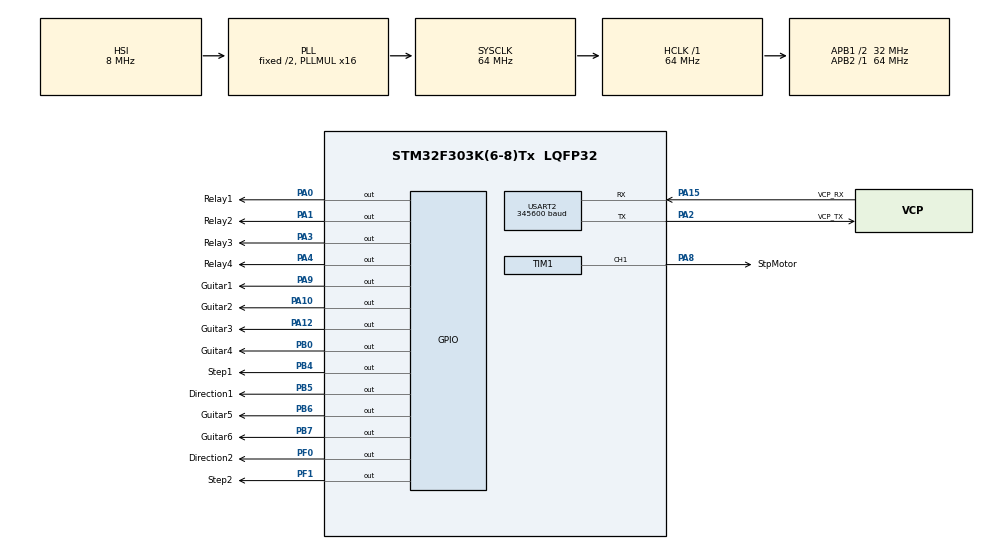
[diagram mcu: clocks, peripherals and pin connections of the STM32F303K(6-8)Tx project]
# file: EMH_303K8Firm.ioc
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Mcu.Family=STM32F3
Mcu.Name=STM32F303K(6-8)Tx
Mcu.Package=LQFP32
NVIC.PriorityGroup=NVIC_PRIORITYGROUP_4
NVIC.TIM1_BRK_TIM15_IRQn=true\:15\:0\:true\:false\:true\:true\:true\:true
NVIC.TIM1_TRG_COM_TIM17_IRQn=true\:15\:0\:true\:false\:true\:true\:true\:true
NVIC.TIM1_UP_TIM16_IRQn=true\:15\:0\:true\:false\:true\:true\:true\:true
NVIC.TIM2_IRQn=true\:0\:0\:false\:false\:true\:true\:true\:true
NVIC.TIM3_IRQn=true\:0\:0\:false\:false\:true\:true\:true\:true
NVIC.TIM6_DAC1_IRQn=true\:15\:0\:true\:false\:true\:true\:true\:true
NVIC.TIM7_DAC2_IRQn=true\:15\:0\:true\:false\:true\:true\:true\:true
NVIC.USART2_IRQn=true\:0\:0\:false\:false\:true\:true\:true\:true
PA0.GPIO_Label=Relay1
PA0.Signal=GPIO_Output
PA1.GPIO_Label=Relay2
PA1.Signal=GPIO_Output
PA10.GPIO_Label=Guitar2
PA10.Signal=GPIO_Output
PA12.GPIO_Label=Guitar3
PA12.Signal=GPIO_Output
PA13.GPIO_Label=SWDIO
PA13.Mode=Serial_Wire
PA13.Signal=SYS_JTMS-SWDIO
PA14.GPIO_Label=SWCLK
PA14.Mode=Serial_Wire
PA14.Signal=SYS_JTCK-SWCLK
PA15.GPIO_Label=VCP_RX
PA15.Mode=Asynchronous
PA15.Signal=USART2_RX
PA2.GPIO_Label=VCP_TX
PA2.Mode=Asynchronous
PA2.Signal=USART2_TX
PA3.GPIO_Label=Relay3
PA3.Signal=GPIO_Output
PA4.GPIO_Label=Relay4
PA4.Signal=GPIO_Output
PA8.GPIO_Label=StpMotor
PA8.Signal=S_TIM1_CH1
PA9.GPIO_Label=Guitar1
PA9.Signal=GPIO_Output
PB0.GPIO_Label=Guitar4
PB0.Signal=GPIO_Output
PB4.GPIO_Label=Step1
PB4.Signal=GPIO_Output
PB5.GPIO_Label=Direction1
PB5.Signal=GPIO_Output
PB6.GPIO_Label=Guitar5
PB6.Signal=GPIO_Output
PB7.GPIO_Label=Guitar6
PB7.Signal=GPIO_Output
PF0\ /\ OSC_IN.GPIO_Label=Direction2
PF0\ /\ OSC_IN.Signal=GPIO_Output
PF1\ /\ OSC_OUT.GPIO_Label=Step2
PF1\ /\ OSC_OUT.Signal=GPIO_Output
ProjectManager.HeapSize=0x200
ProjectManager.StackSize=0x400
ProjectManager.TargetToolchain=STM32CubeIDE
RCC.AHBFreq_Value=64000000
RCC.APB1CLKDivider=RCC_HCLK_DIV2
RCC.APB1Freq_Value=32000000
RCC.APB1TimFreq_Value=64000000
RCC.APB2Freq_Value=64000000
RCC.APB2TimFreq_Value=64000000
RCC.CortexFreq_Value=64000000
RCC.HCLKFreq_Value=64000000
RCC.HSE_VALUE=8000000
RCC.HSI_VALUE=8000000
RCC.PLLMUL=RCC_PLL_MUL16
RCC.SYSCLKFreq_VALUE=64000000
RCC.SYSCLKSourceVirtual=RCC_SYSCLKSOURCE_PLLCLK
SH.S_TIM1_CH1.0=TIM1_CH1,PWM Generation1 CH1
TIM1.Channel-PWM\ Generation1\ CH1=TIM_CHANNEL_1
TIM1.Period=99
TIM1.Prescaler=799
TIM15.AutoReloadPreload=TIM_AUTORELOAD_PRELOAD_ENABLE
TIM15.Period=99
TIM15.Prescaler=799
TIM16.AutoReloadPreload=TIM_AUTORELOAD_PRELOAD_ENABLE
TIM16.Period=99
TIM16.Prescaler=799
TIM17.AutoReloadPreload=TIM_AUTORELOAD_PRELOAD_ENABLE
TIM17.Period=99
TIM17.Prescaler=799
TIM2.AutoReloadPreload=TIM_AUTORELOAD_PRELOAD_ENABLE
TIM2.Period=99
TIM2.Prescaler=799
TIM3.AutoReloadPreload=TIM_AUTORELOAD_PRELOAD_ENABLE
TIM3.Period=99
TIM3.Prescaler=799
TIM6.AutoReloadPreload=TIM_AUTORELOAD_PRELOAD_ENABLE
TIM6.Period=99
TIM6.Prescaler=799
TIM7.AutoReloadPreload=TIM_AUTORELOAD_PRELOAD_ENABLE
TIM7.Period=99
TIM7.Prescaler=799
USART2.BaudRate=345600
USART2.VirtualMode-Asynchronous=VM_ASYNC
VP_TIM15_VS_ClockSourceINT.Mode=Internal
VP_TIM16_VS_ClockSourceINT.Mode=Enable_Timer
VP_TIM17_VS_ClockSourceINT.Mode=Enable_Timer
VP_TIM1_VS_ClockSourceINT.Mode=Internal
VP_TIM2_VS_ClockSourceINT.Mode=Internal
VP_TIM3_VS_ClockSourceINT.Mode=Internal
VP_TIM6_VS_ClockSourceINT.Mode=Enable_Timer
VP_TIM7_VS_ClockSourceINT.Mode=Enable_Timer
board=NUCLEO-F303K8

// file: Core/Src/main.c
/* USER CODE BEGIN Header */
/**
  ******************************************************************************
  * @file           : main.c
  * @brief          : Main program body
  ******************************************************************************
  * @attention
  *
  * Copyright (c) 2023 STMicroelectronics.
  * All rights reserved.
  *
  * This software is licensed under terms that can be found in the LICENSE file
  * in the root directory of this software component.
  * If no LICENSE file comes with this software, it is provided AS-IS.
  *
  ******************************************************************************
  */
/* USER CODE END Header */
#include "main.h"

/* USER CODE BEGIN Includes */
#include <math.h>
#include <stdlib.h>
/* USER CODE END Includes */

/* USER CODE BEGIN PD */
#define TimerNum 8
#define FloppyNum 2
#define RelayNum 4
#define GuitarNum 6
/* USER CODE END PD */

TIM_HandleTypeDef htim1;
TIM_HandleTypeDef htim2;
TIM_HandleTypeDef htim3;
TIM_HandleTypeDef htim6;
TIM_HandleTypeDef htim7;
TIM_HandleTypeDef htim15;
TIM_HandleTypeDef htim16;
TIM_HandleTypeDef htim17;

UART_HandleTypeDef huart2;

/* USER CODE BEGIN PV */
GPIO_PinState currentState[FloppyNum] ={ GPIO_PIN_RESET};
uint8_t currentPosition[FloppyNum] = {0};

char data[256];
uint8_t uartCnt = 0;
uint16_t notes[12] = {0};
uint16_t freqs[12] = {0};
uint16_t noteParFreq[127] = {0};
double tmp[12] = {0};

const double timer_clock = 64e6;
const uint8_t timerPeriod = 100;

uint8_t arrayLen = 0;
GPIO_TypeDef* relayPort[RelayNum] = {};
uint32_t relayPin[RelayNum] = {};
GPIO_TypeDef* floppyPort[FloppyNum * 2] = {};
uint32_t floppyPin[FloppyNum * 2] = {};
GPIO_TypeDef* guitarPort[GuitarNum] = {};
uint32_t guitarPin[GuitarNum] = {};
TIM_HandleTypeDef times[TimerNum] = {};
/* USER CODE END PV */

void SystemClock_Config(void);
static void MX_GPIO_Init(void);
static void MX_USART2_UART_Init(void);
static void MX_TIM1_Init(void);
static void MX_TIM6_Init(void);
static void MX_TIM7_Init(void);
static void MX_TIM17_Init(void);
static void MX_TIM2_Init(void);
static void MX_TIM3_Init(void);
static void MX_TIM15_Init(void);
static void MX_TIM16_Init(void);

/* USER CODE BEGIN 0 */
//reset position of floppy
void resetStep(){
	for(uint8_t i = 0; i < FloppyNum * 2; i+=2){
		//i : Direction, i+1 : Step
		HAL_GPIO_WritePin(floppyPort[i], floppyPin[i], GPIO_PIN_SET);
		for(uint8_t j = 0; j < 79; j++){
			HAL_GPIO_WritePin(floppyPort[i+1], floppyPin[i+1], GPIO_PIN_SET);
			HAL_GPIO_WritePin(floppyPort[i+1], floppyPin[i+1], GPIO_PIN_RESET);
			HAL_Delay(10);
		}
		currentPosition[i / 2] = 0;
		currentState[i / 2] = GPIO_PIN_RESET;
		HAL_GPIO_WritePin(floppyPort[i], floppyPin[i], GPIO_PIN_RESET);
	}
}

//Timer interrupt (floppy control only)
void HAL_TIM_PeriodElapsedCallback(TIM_HandleTypeDef *htim)
{
	uint8_t timerIdx = 0;
	for(; timerIdx < TimerNum; timerIdx++){
		if(htim->Instance == times[timerIdx].Instance)
			break;
	}
	//timer0 -> StpMotor(Melody)
	//timer1-6 -> GuitaNoid(Guitar)
	//timer7 -> FloppyDrive(Base)
	if(timerIdx == 7){
		//Update position
		for(uint8_t floppyIdx = timerIdx - 7; floppyIdx < FloppyNum; floppyIdx++){
			currentPosition[floppyIdx] = (currentState[floppyIdx] == GPIO_PIN_SET) ? currentPosition[floppyIdx] - 1 : currentPosition[floppyIdx] + 1;
			if(currentPosition[floppyIdx] <= 0){
				currentState[floppyIdx] = GPIO_PIN_RESET;
				HAL_GPIO_WritePin(floppyPort[floppyIdx * 2], floppyPin[floppyIdx * 2], currentState[floppyIdx]);
			}else if(currentPosition[floppyIdx] >= 158){
				currentState[floppyIdx] = GPIO_PIN_SET;
				HAL_GPIO_WritePin(floppyPort[floppyIdx * 2], floppyPin[floppyIdx * 2], currentState[floppyIdx]);
			}
			HAL_GPIO_TogglePin(floppyPort[floppyIdx * 2 + 1], floppyPin[floppyIdx * 2 + 1]);
		}
	}else if(timerIdx > 0){
		uint8_t guitarIdx = timerIdx - 1;
		HAL_GPIO_TogglePin(guitarPort[guitarIdx], guitarPin[guitarIdx]);
	}
}

//Set frequency of Timer
void setTimer(uint8_t part, TIM_HandleTypeDef htim, uint32_t prescaler, uint32_t pwm){

  if(pwm > 99) pwm = 99;
  if(prescaler < 0) prescaler = 799;

  htim.Instance = htim.Instance;
  htim.Init.Prescaler = prescaler;
  htim.Init.CounterMode = TIM_COUNTERMODE_UP;
  htim.Init.Period = timerPeriod - 1;	//because of start with 0
  htim.Init.ClockDivision = TIM_CLOCKDIVISION_DIV1;
  htim.Init.AutoReloadPreload = TIM_AUTORELOAD_PRELOAD_ENABLE;
  HAL_TIM_Base_Init(&htim);

	if(part < 1){
	  TIM_OC_InitTypeDef sConfigOC = {0};	//pwm setting only

	  sConfigOC.OCMode = TIM_OCMODE_PWM1;
	  sConfigOC.Pulse = pwm;
	  sConfigOC.OCPolarity = TIM_OCPOLARITY_HIGH;
	  sConfigOC.OCFastMode = TIM_OCFAST_DISABLE;
	  sConfigOC.OCIdleState = TIM_OCIDLESTATE_RESET;
	  sConfigOC.OCNIdleState = TIM_OCNIDLESTATE_RESET;
	  HAL_TIM_PWM_ConfigChannel(&htim, &sConfigOC, TIM_CHANNEL_1);

	  //start
	  HAL_TIM_PWM_Start(&htim, TIM_CHANNEL_1);

	  /*sConfigOC.OCMode = TIM_OCMODE_TOGGLE;
	  sConfigOC.Pulse = 0;
	  sConfigOC.OCPolarity = TIM_OCPOLARITY_HIGH;
	  sConfigOC.OCNPolarity = TIM_OCNPOLARITY_HIGH;
	  sConfigOC.OCFastMode = TIM_OCFAST_DISABLE;
	  sConfigOC.OCIdleState = TIM_OCIDLESTATE_RESET;
	  sConfigOC.OCNIdleState = TIM_OCNIDLESTATE_RESET;

	  HAL_TIM_OC_ConfigChannel(&htim, &sConfigOC, TIM_CHANNEL_2);
	  HAL_TIM_OC_Start(&htim, TIM_CHANNEL_2);
	  HAL_TIMEx_OCN_Start(&htim, TIM_CHANNEL_2);

	  sConfigOC.Pulse = timerPeriod / 2 - 1;
	  HAL_TIM_OC_ConfigChannel(&htim, &sConfigOC, TIM_CHANNEL_3);
	  HAL_TIM_OC_Start(&htim, TIM_CHANNEL_3);
	  HAL_TIMEx_OCN_Start(&htim, TIM_CHANNEL_3);*/

	}else{
	  // start
	  HAL_TIM_Base_Start_IT(&htim);
	}

}

//Convert note number to frequency
float NoteConvert(uint16_t noteNum){
	int64_t tmp = noteNum - 69;
	double exp = (double)tmp / 12.0;
	double freq = 440 * pow(2.0, exp);
	return (float)freq;
}

//Serial interrupt
void HAL_UART_RxCpltCallback(UART_HandleTypeDef *huart)
{
	static uint8_t event = 0;
	static uint8_t part = 0;

	//whether data header or data body
	if(uartCnt){
		if(part < TimerNum){
			notes[part] = data[0];
			freqs[part] = noteParFreq[notes[part]];
			//double the frequency if it is floppy, stp motor, or guitar
			freqs[part] *= 2;
			setTimer(part, times[part], (timer_clock / (freqs[part] * timerPeriod) - 1),70);
		}else if(part < TimerNum + RelayNum){
			HAL_GPIO_TogglePin(relayPort[part - TimerNum], relayPin[part - TimerNum]);
		}
		uartCnt = 0;
	}else{
		event = data[0] & 0xf0;
		part = data[0] & 0x0f;
		if(event){
			//note On
			uartCnt++;
		}else{
			//note Off
			//reset value
			notes[part] = 0;
			freqs[part] = 0;
			if(part < TimerNum){
				if(part < 1){
					//reset Timer of melody(stp motor)
					HAL_TIM_PWM_Stop(&times[part], TIM_CHANNEL_1);
				}else{
					//reset timer of solenoid and floppy
					HAL_TIM_Base_Stop_IT(&times[part]);
				}
			}
		}
	}
	//next data
	HAL_UART_Receive_IT(&huart2, (uint8_t *)data, 1);
}

/* USER CODE END 0 */

int main(void)
{

  /* MCU Configuration--------------------------------------------------------*/

  /* Reset of all peripherals, Initializes the Flash interface and the Systick. */
  HAL_Init();

  /* Configure the system clock */
  SystemClock_Config();

  /* Initialize all configured peripherals */
  MX_GPIO_Init();
  MX_USART2_UART_Init();
  MX_TIM1_Init();
  MX_TIM6_Init();
  MX_TIM7_Init();
  MX_TIM17_Init();
  MX_TIM2_Init();
  MX_TIM3_Init();
  MX_TIM15_Init();
  MX_TIM16_Init();
  /* USER CODE BEGIN 2 */

  //floppy1 --> 0 : direction, 1 : step
  //floppy2 --> 2 : direction, 3 : step
  floppyPort[0] = Direction1_GPIO_Port;
  floppyPort[1] = Step1_GPIO_Port;
  floppyPort[2] = Direction2_GPIO_Port;
  floppyPort[3] = Step2_GPIO_Port;
  floppyPin[0] = Direction1_Pin;
  floppyPin[1] = Step1_Pin;
  floppyPin[2] = Direction2_Pin;
  floppyPin[3] = Step2_Pin;
  relayPort[0] = Relay1_GPIO_Port;
  relayPort[1] = Relay2_GPIO_Port;
  relayPort[2] = Relay3_GPIO_Port;
  relayPort[3] = Relay4_GPIO_Port;
  relayPin[0] = Relay1_Pin;
  relayPin[1] = Relay2_Pin;
  relayPin[2] = Relay3_Pin;
  relayPin[3] = Relay4_Pin;
  guitarPort[0] = Guitar1_GPIO_Port;
  guitarPort[1] = Guitar2_GPIO_Port;
  guitarPort[2] = Guitar3_GPIO_Port;
  guitarPort[3] = Guitar4_GPIO_Port;
  guitarPort[4] = Guitar5_GPIO_Port;
  guitarPort[5] = Guitar6_GPIO_Port;
  guitarPin[0] = Guitar1_Pin;
  guitarPin[1] = Guitar2_Pin;
  guitarPin[2] = Guitar3_Pin;
  guitarPin[3] = Guitar4_Pin;
  guitarPin[4] = Guitar5_Pin;
  guitarPin[5] = Guitar6_Pin;

  for(uint8_t i = 0; i < RelayNum; i++){
	  HAL_GPIO_WritePin(relayPort[i], relayPin[i], GPIO_PIN_RESET);
  }
  for(uint8_t i = 0; i < FloppyNum * 2; i++){
	  HAL_GPIO_WritePin(floppyPort[i], floppyPin[i], GPIO_PIN_RESET);
  }
  for(uint8_t i = 0; i < GuitarNum; i++){
  	HAL_GPIO_WritePin(guitarPort[i], guitarPin[i], GPIO_PIN_RESET);
  }

  //Melody by Solenoid and Stp_Motor
  times[0] = htim1;
  //Guitar by Solenoid
  times[1] = htim2;
  times[2] = htim3;
  times[3] = htim6;
  times[4] = htim7;
  times[5] = htim15;
  times[6] = htim16;
  //Base by FloppyDrive
  times[7] = htim17;

  //reset floppy
  resetStep();
  //start UART interrupt
  HAL_UART_Receive_IT(&huart2, (uint8_t *)data, 1);
  for(uint8_t i = 0; i < 127; i++){
  	noteParFreq[i] =  (uint16_t)NoteConvert(i);
  }
  /* USER CODE END 2 */

  /* Infinite loop */
  while (1)
  {

  }
}

void SystemClock_Config(void)
{
  RCC_OscInitTypeDef RCC_OscInitStruct = {0};
  RCC_ClkInitTypeDef RCC_ClkInitStruct = {0};
  RCC_PeriphCLKInitTypeDef PeriphClkInit = {0};

  /** Initializes the RCC Oscillators according to the specified parameters
  * in the RCC_OscInitTypeDef structure.
  */
  RCC_OscInitStruct.OscillatorType = RCC_OSCILLATORTYPE_HSI;
  RCC_OscInitStruct.HSIState = RCC_HSI_ON;
  RCC_OscInitStruct.HSICalibrationValue = RCC_HSICALIBRATION_DEFAULT;
  RCC_OscInitStruct.PLL.PLLState = RCC_PLL_ON;
  RCC_OscInitStruct.PLL.PLLSource = RCC_PLLSOURCE_HSI;
  RCC_OscInitStruct.PLL.PLLMUL = RCC_PLL_MUL16;
  if (HAL_RCC_OscConfig(&RCC_OscInitStruct) != HAL_OK)
  {
    Error_Handler();
  }

  /** Initializes the CPU, AHB and APB buses clocks
  */
  RCC_ClkInitStruct.ClockType = RCC_CLOCKTYPE_HCLK|RCC_CLOCKTYPE_SYSCLK
                              |RCC_CLOCKTYPE_PCLK1|RCC_CLOCKTYPE_PCLK2;
  RCC_ClkInitStruct.SYSCLKSource = RCC_SYSCLKSOURCE_PLLCLK;
  RCC_ClkInitStruct.AHBCLKDivider = RCC_SYSCLK_DIV1;
  RCC_ClkInitStruct.APB1CLKDivider = RCC_HCLK_DIV2;
  RCC_ClkInitStruct.APB2CLKDivider = RCC_HCLK_DIV1;

  if (HAL_RCC_ClockConfig(&RCC_ClkInitStruct, FLASH_LATENCY_2) != HAL_OK)
  {
    Error_Handler();
  }
  PeriphClkInit.PeriphClockSelection = RCC_PERIPHCLK_TIM1;
  PeriphClkInit.Tim1ClockSelection = RCC_TIM1CLK_HCLK;
  if (HAL_RCCEx_PeriphCLKConfig(&PeriphClkInit) != HAL_OK)
  {
    Error_Handler();
  }
}

static void MX_TIM1_Init(void)
{

  TIM_ClockConfigTypeDef sClockSourceConfig = {0};
  TIM_MasterConfigTypeDef sMasterConfig = {0};
  TIM_OC_InitTypeDef sConfigOC = {0};
  TIM_BreakDeadTimeConfigTypeDef sBreakDeadTimeConfig = {0};

  htim1.Instance = TIM1;
  htim1.Init.Prescaler = 799;
  htim1.Init.CounterMode = TIM_COUNTERMODE_UP;
  htim1.Init.Period = 99;
  htim1.Init.ClockDivision = TIM_CLOCKDIVISION_DIV1;
  htim1.Init.RepetitionCounter = 0;
  htim1.Init.AutoReloadPreload = TIM_AUTORELOAD_PRELOAD_DISABLE;
  if (HAL_TIM_Base_Init(&htim1) != HAL_OK)
  {
    Error_Handler();
  }
  sClockSourceConfig.ClockSource = TIM_CLOCKSOURCE_INTERNAL;
  if (HAL_TIM_ConfigClockSource(&htim1, &sClockSourceConfig) != HAL_OK)
  {
    Error_Handler();
  }
  if (HAL_TIM_PWM_Init(&htim1) != HAL_OK)
  {
    Error_Handler();
  }
  sMasterConfig.MasterOutputTrigger = TIM_TRGO_RESET;
  sMasterConfig.MasterOutputTrigger2 = TIM_TRGO2_RESET;
  sMasterConfig.MasterSlaveMode = TIM_MASTERSLAVEMODE_DISABLE;
  if (HAL_TIMEx_MasterConfigSynchronization(&htim1, &sMasterConfig) != HAL_OK)
  {
    Error_Handler();
  }
  sConfigOC.OCMode = TIM_OCMODE_PWM1;
  sConfigOC.Pulse = 0;
  sConfigOC.OCPolarity = TIM_OCPOLARITY_HIGH;
  sConfigOC.OCNPolarity = TIM_OCNPOLARITY_HIGH;
  sConfigOC.OCFastMode = TIM_OCFAST_DISABLE;
  sConfigOC.OCIdleState = TIM_OCIDLESTATE_RESET;
  sConfigOC.OCNIdleState = TIM_OCNIDLESTATE_RESET;
  if (HAL_TIM_PWM_ConfigChannel(&htim1, &sConfigOC, TIM_CHANNEL_1) != HAL_OK)
  {
    Error_Handler();
  }
  sBreakDeadTimeConfig.OffStateRunMode = TIM_OSSR_DISABLE;
  sBreakDeadTimeConfig.OffStateIDLEMode = TIM_OSSI_DISABLE;
  sBreakDeadTimeConfig.LockLevel = TIM_LOCKLEVEL_OFF;
  sBreakDeadTimeConfig.DeadTime = 0;
  sBreakDeadTimeConfig.BreakState = TIM_BREAK_DISABLE;
  sBreakDeadTimeConfig.BreakPolarity = TIM_BREAKPOLARITY_HIGH;
  sBreakDeadTimeConfig.BreakFilter = 0;
  sBreakDeadTimeConfig.Break2State = TIM_BREAK2_DISABLE;
  sBreakDeadTimeConfig.Break2Polarity = TIM_BREAK2POLARITY_HIGH;
  sBreakDeadTimeConfig.Break2Filter = 0;
  sBreakDeadTimeConfig.AutomaticOutput = TIM_AUTOMATICOUTPUT_DISABLE;
  if (HAL_TIMEx_ConfigBreakDeadTime(&htim1, &sBreakDeadTimeConfig) != HAL_OK)
  {
    Error_Handler();
  }
  HAL_TIM_MspPostInit(&htim1);

}

static void MX_TIM2_Init(void)
{

  TIM_ClockConfigTypeDef sClockSourceConfig = {0};
  TIM_MasterConfigTypeDef sMasterConfig = {0};

  htim2.Instance = TIM2;
  htim2.Init.Prescaler = 799;
  htim2.Init.CounterMode = TIM_COUNTERMODE_UP;
  htim2.Init.Period = 99;
  htim2.Init.ClockDivision = TIM_CLOCKDIVISION_DIV1;
  htim2.Init.AutoReloadPreload = TIM_AUTORELOAD_PRELOAD_ENABLE;
  if (HAL_TIM_Base_Init(&htim2) != HAL_OK)
  {
    Error_Handler();
  }
  sClockSourceConfig.ClockSource = TIM_CLOCKSOURCE_INTERNAL;
  if (HAL_TIM_ConfigClockSource(&htim2, &sClockSourceConfig) != HAL_OK)
  {
    Error_Handler();
  }
  sMasterConfig.MasterOutputTrigger = TIM_TRGO_RESET;
  sMasterConfig.MasterSlaveMode = TIM_MASTERSLAVEMODE_DISABLE;
  if (HAL_TIMEx_MasterConfigSynchronization(&htim2, &sMasterConfig) != HAL_OK)
  {
    Error_Handler();
  }

}

static void MX_TIM3_Init(void)
{

  TIM_ClockConfigTypeDef sClockSourceConfig = {0};
  TIM_MasterConfigTypeDef sMasterConfig = {0};

  htim3.Instance = TIM3;
  htim3.Init.Prescaler = 799;
  htim3.Init.CounterMode = TIM_COUNTERMODE_UP;
  htim3.Init.Period = 99;
  htim3.Init.ClockDivision = TIM_CLOCKDIVISION_DIV1;
  htim3.Init.AutoReloadPreload = TIM_AUTORELOAD_PRELOAD_ENABLE;
  if (HAL_TIM_Base_Init(&htim3) != HAL_OK)
  {
    Error_Handler();
  }
  sClockSourceConfig.ClockSource = TIM_CLOCKSOURCE_INTERNAL;
  if (HAL_TIM_ConfigClockSource(&htim3, &sClockSourceConfig) != HAL_OK)
  {
    Error_Handler();
  }
  sMasterConfig.MasterOutputTrigger = TIM_TRGO_RESET;
  sMasterConfig.MasterSlaveMode = TIM_MASTERSLAVEMODE_DISABLE;
  if (HAL_TIMEx_MasterConfigSynchronization(&htim3, &sMasterConfig) != HAL_OK)
  {
    Error_Handler();
  }

}

static void MX_TIM6_Init(void)
{

  TIM_MasterConfigTypeDef sMasterConfig = {0};

  htim6.Instance = TIM6;
  htim6.Init.Prescaler = 799;
  htim6.Init.CounterMode = TIM_COUNTERMODE_UP;
  htim6.Init.Period = 99;
  htim6.Init.AutoReloadPreload = TIM_AUTORELOAD_PRELOAD_ENABLE;
  if (HAL_TIM_Base_Init(&htim6) != HAL_OK)
  {
    Error_Handler();
  }
  sMasterConfig.MasterOutputTrigger = TIM_TRGO_RESET;
  sMasterConfig.MasterSlaveMode = TIM_MASTERSLAVEMODE_DISABLE;
  if (HAL_TIMEx_MasterConfigSynchronization(&htim6, &sMasterConfig) != HAL_OK)
  {
    Error_Handler();
  }

}

static void MX_TIM7_Init(void)
{

  TIM_MasterConfigTypeDef sMasterConfig = {0};

  htim7.Instance = TIM7;
  htim7.Init.Prescaler = 799;
  htim7.Init.CounterMode = TIM_COUNTERMODE_UP;
  htim7.Init.Period = 99;
  htim7.Init.AutoReloadPreload = TIM_AUTORELOAD_PRELOAD_ENABLE;
  if (HAL_TIM_Base_Init(&htim7) != HAL_OK)
  {
    Error_Handler();
  }
  sMasterConfig.MasterOutputTrigger = TIM_TRGO_RESET;
  sMasterConfig.MasterSlaveMode = TIM_MASTERSLAVEMODE_DISABLE;
  if (HAL_TIMEx_MasterConfigSynchronization(&htim7, &sMasterConfig) != HAL_OK)
  {
    Error_Handler();
  }

}

static void MX_TIM15_Init(void)
{

  TIM_ClockConfigTypeDef sClockSourceConfig = {0};
  TIM_MasterConfigTypeDef sMasterConfig = {0};

  htim15.Instance = TIM15;
  htim15.Init.Prescaler = 799;
  htim15.Init.CounterMode = TIM_COUNTERMODE_UP;
  htim15.Init.Period = 99;
  htim15.Init.ClockDivision = TIM_CLOCKDIVISION_DIV1;
  htim15.Init.RepetitionCounter = 0;
  htim15.Init.AutoReloadPreload = TIM_AUTORELOAD_PRELOAD_ENABLE;
  if (HAL_TIM_Base_Init(&htim15) != HAL_OK)
  {
    Error_Handler();
  }
  sClockSourceConfig.ClockSource = TIM_CLOCKSOURCE_INTERNAL;
  if (HAL_TIM_ConfigClockSource(&htim15, &sClockSourceConfig) != HAL_OK)
  {
    Error_Handler();
  }
  sMasterConfig.MasterOutputTrigger = TIM_TRGO_RESET;
  sMasterConfig.MasterSlaveMode = TIM_MASTERSLAVEMODE_DISABLE;
  if (HAL_TIMEx_MasterConfigSynchronization(&htim15, &sMasterConfig) != HAL_OK)
  {
    Error_Handler();
  }

}

static void MX_TIM16_Init(void)
{

  htim16.Instance = TIM16;
  htim16.Init.Prescaler = 799;
  htim16.Init.CounterMode = TIM_COUNTERMODE_UP;
  htim16.Init.Period = 99;
  htim16.Init.ClockDivision = TIM_CLOCKDIVISION_DIV1;
  htim16.Init.RepetitionCounter = 0;
  htim16.Init.AutoReloadPreload = TIM_AUTORELOAD_PRELOAD_ENABLE;
  if (HAL_TIM_Base_Init(&htim16) != HAL_OK)
  {
    Error_Handler();
  }

}

static void MX_TIM17_Init(void)
{

  htim17.Instance = TIM17;
  htim17.Init.Prescaler = 799;
  htim17.Init.CounterMode = TIM_COUNTERMODE_UP;
  htim17.Init.Period = 99;
  htim17.Init.ClockDivision = TIM_CLOCKDIVISION_DIV1;
  htim17.Init.RepetitionCounter = 0;
  htim17.Init.AutoReloadPreload = TIM_AUTORELOAD_PRELOAD_ENABLE;
  if (HAL_TIM_Base_Init(&htim17) != HAL_OK)
  {
    Error_Handler();
  }

}

static void MX_USART2_UART_Init(void)
{

  huart2.Instance = USART2;
  huart2.Init.BaudRate = 345600;
  huart2.Init.WordLength = UART_WORDLENGTH_8B;
  huart2.Init.StopBits = UART_STOPBITS_1;
  huart2.Init.Parity = UART_PARITY_NONE;
  huart2.Init.Mode = UART_MODE_TX_RX;
  huart2.Init.HwFlowCtl = UART_HWCONTROL_NONE;
  huart2.Init.OverSampling = UART_OVERSAMPLING_16;
  huart2.Init.OneBitSampling = UART_ONE_BIT_SAMPLE_DISABLE;
  huart2.AdvancedInit.AdvFeatureInit = UART_ADVFEATURE_NO_INIT;
  if (HAL_UART_Init(&huart2) != HAL_OK)
  {
    Error_Handler();
  }

}

static void MX_GPIO_Init(void)
{
  GPIO_InitTypeDef GPIO_InitStruct = {0};

  /* GPIO Ports Clock Enable */
  __HAL_RCC_GPIOF_CLK_ENABLE();
  __HAL_RCC_GPIOA_CLK_ENABLE();
  __HAL_RCC_GPIOB_CLK_ENABLE();

  /*Configure GPIO pin Output Level */
  HAL_GPIO_WritePin(GPIOF, Direction2_Pin|Step2_Pin, GPIO_PIN_RESET);

  /*Configure GPIO pin Output Level */
  HAL_GPIO_WritePin(GPIOA, Relay1_Pin|Relay2_Pin|Relay3_Pin|Relay4_Pin
                          |Guitar1_Pin|Guitar2_Pin|Guitar3_Pin, GPIO_PIN_RESET);

  /*Configure GPIO pin Output Level */
  HAL_GPIO_WritePin(GPIOB, Guitar4_Pin|Step1_Pin|Direction1_Pin|Guitar5_Pin
                          |Guitar6_Pin, GPIO_PIN_RESET);

  /*Configure GPIO pins : Direction2_Pin Step2_Pin */
  GPIO_InitStruct.Pin = Direction2_Pin|Step2_Pin;
  GPIO_InitStruct.Mode = GPIO_MODE_OUTPUT_PP;
  GPIO_InitStruct.Pull = GPIO_NOPULL;
  GPIO_InitStruct.Speed = GPIO_SPEED_FREQ_LOW;
  HAL_GPIO_Init(GPIOF, &GPIO_InitStruct);

  /*Configure GPIO pins : Relay1_Pin Relay2_Pin Relay3_Pin Relay4_Pin
                           Guitar1_Pin Guitar2_Pin Guitar3_Pin */
  GPIO_InitStruct.Pin = Relay1_Pin|Relay2_Pin|Relay3_Pin|Relay4_Pin
                          |Guitar1_Pin|Guitar2_Pin|Guitar3_Pin;
  GPIO_InitStruct.Mode = GPIO_MODE_OUTPUT_PP;
  GPIO_InitStruct.Pull = GPIO_NOPULL;
  GPIO_InitStruct.Speed = GPIO_SPEED_FREQ_LOW;
  HAL_GPIO_Init(GPIOA, &GPIO_InitStruct);

  /*Configure GPIO pins : Guitar4_Pin Step1_Pin Direction1_Pin Guitar5_Pin
                           Guitar6_Pin */
  GPIO_InitStruct.Pin = Guitar4_Pin|Step1_Pin|Direction1_Pin|Guitar5_Pin
                          |Guitar6_Pin;
  GPIO_InitStruct.Mode = GPIO_MODE_OUTPUT_PP;
  GPIO_InitStruct.Pull = GPIO_NOPULL;
  GPIO_InitStruct.Speed = GPIO_SPEED_FREQ_LOW;
  HAL_GPIO_Init(GPIOB, &GPIO_InitStruct);

}

void Error_Handler(void)
{
  __disable_irq();
  while (1)
  {
  }
}
